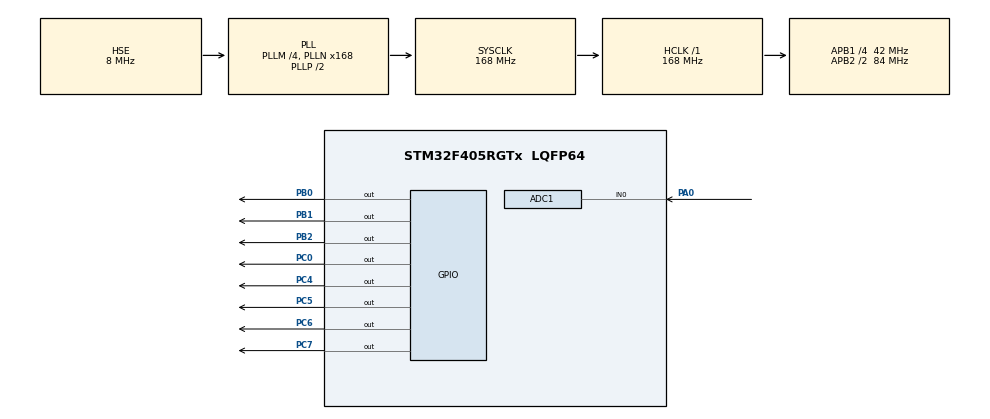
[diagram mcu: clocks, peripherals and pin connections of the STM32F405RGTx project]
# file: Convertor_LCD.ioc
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ADC1.Channel-0\#ChannelRegularConversion=ADC_CHANNEL_0
ADC1.NbrOfConversionFlag=1
ADC1.Rank-0\#ChannelRegularConversion=1
ADC1.SamplingTime-0\#ChannelRegularConversion=ADC_SAMPLETIME_3CYCLES
ADC1.master=1
Mcu.Family=STM32F4
Mcu.Name=STM32F405RGTx
Mcu.Package=LQFP64
NVIC.PriorityGroup=NVIC_PRIORITYGROUP_4
PA0-WKUP.Signal=ADCx_IN0
PA13.Mode=Serial_Wire
PA13.Signal=SYS_JTMS-SWDIO
PA14.Mode=Serial_Wire
PA14.Signal=SYS_JTCK-SWCLK
PB0.Signal=GPIO_Output
PB1.Signal=GPIO_Output
PB2.Signal=GPIO_Output
PC0.Signal=GPIO_Output
PC4.Signal=GPIO_Output
PC5.Signal=GPIO_Output
PC6.Signal=GPIO_Output
PC7.Signal=GPIO_Output
PH0-OSC_IN.Mode=HSE-External-Oscillator
PH0-OSC_IN.Signal=RCC_OSC_IN
PH1-OSC_OUT.Mode=HSE-External-Oscillator
PH1-OSC_OUT.Signal=RCC_OSC_OUT
ProjectManager.HeapSize=0x200
ProjectManager.StackSize=0x400
ProjectManager.TargetToolchain=EWARM V8.32
RCC.48MHZClocksFreq_Value=84000000
RCC.AHBFreq_Value=168000000
RCC.APB1CLKDivider=RCC_HCLK_DIV4
RCC.APB1Freq_Value=42000000
RCC.APB1TimFreq_Value=84000000
RCC.APB2CLKDivider=RCC_HCLK_DIV2
RCC.APB2Freq_Value=84000000
RCC.APB2TimFreq_Value=168000000
RCC.CortexFreq_Value=168000000
RCC.HCLKFreq_Value=168000000
RCC.HSE_VALUE=8000000
RCC.HSI_VALUE=16000000
RCC.LSE_VALUE=32768
RCC.PLLM=4
RCC.PLLN=168
RCC.PLLSourceVirtual=RCC_PLLSOURCE_HSE
RCC.SYSCLKFreq_VALUE=168000000
RCC.SYSCLKSource=RCC_SYSCLKSOURCE_PLLCLK
RCC.VCOOutputFreq_Value=336000000
SH.ADCx_IN0.0=ADC1_IN0,IN0
board=custom

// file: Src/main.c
/* USER CODE BEGIN Header */
/**
  ******************************************************************************
  * @file           : main.c
  * @brief          : Main program body
  ******************************************************************************
  * @attention
  *
  * <h2><center>&copy; Copyright (c) 2020 STMicroelectronics.
  * All rights reserved.</center></h2>
  *
  * This software component is licensed by ST under BSD 3-Clause license,
  * the "License"; You may not use this file except in compliance with the
  * License. You may obtain a copy of the License at:
  *                        opensource.org/licenses/BSD-3-Clause
  *
  ******************************************************************************
  */
/* USER CODE END Header */

#include "main.h"
#include "adc.h"
#include "gpio.h"

/* USER CODE BEGIN Includes */
#include "lcd.h"
#include "stdio.h"
/* USER CODE END Includes */

/* USER CODE BEGIN PV */
uint16_t adcData = 0;
char str[10];
/* USER CODE END PV */

void SystemClock_Config(void);

int main(void)
{

  /* MCU Configuration--------------------------------------------------------*/

  /* Reset of all peripherals, Initializes the Flash interface and the Systick. */
  HAL_Init();

  /* Configure the system clock */
  SystemClock_Config();

  /* Initialize all configured peripherals */
  MX_GPIO_Init();
  MX_ADC1_Init();
  /* USER CODE BEGIN 2 */
  lcdInit();
  lcdGotoXY(0,0);
  /* USER CODE END 2 */

  /* Infinite loop */
  /* USER CODE BEGIN WHILE */
  while (1)
  {
    lcdClear();
    lcdPrintData("ADC POLLTEST",12);
    HAL_ADC_Start(&hadc1);
    HAL_ADC_PollForConversion(&hadc1,10);
    adcData = HAL_ADC_GetValue(&hadc1);
    sprintf(str, "ADC : %d", adcData);
    lcdGotoXY(0,1);
    lcdPrint(str);
    HAL_Delay(500);

    if(adcData < 2500)
      HAL_GPIO_WritePin(GPIOC,GPIO_PIN_0,GPIO_PIN_SET);
    else
      HAL_GPIO_WritePin(GPIOC,GPIO_PIN_0,GPIO_PIN_RESET);
    /* USER CODE END WHILE */

  }
}

void SystemClock_Config(void)
{
  RCC_OscInitTypeDef RCC_OscInitStruct = {0};
  RCC_ClkInitTypeDef RCC_ClkInitStruct = {0};

  /** Configure the main internal regulator output voltage
  */
  __HAL_RCC_PWR_CLK_ENABLE();
  __HAL_PWR_VOLTAGESCALING_CONFIG(PWR_REGULATOR_VOLTAGE_SCALE1);
  /** Initializes the CPU, AHB and APB busses clocks
  */
  RCC_OscInitStruct.OscillatorType = RCC_OSCILLATORTYPE_HSE;
  RCC_OscInitStruct.HSEState = RCC_HSE_ON;
  RCC_OscInitStruct.PLL.PLLState = RCC_PLL_ON;
  RCC_OscInitStruct.PLL.PLLSource = RCC_PLLSOURCE_HSE;
  RCC_OscInitStruct.PLL.PLLM = 4;
  RCC_OscInitStruct.PLL.PLLN = 168;
  RCC_OscInitStruct.PLL.PLLP = RCC_PLLP_DIV2;
  RCC_OscInitStruct.PLL.PLLQ = 4;
  if (HAL_RCC_OscConfig(&RCC_OscInitStruct) != HAL_OK)
  {
    Error_Handler();
  }
  /** Initializes the CPU, AHB and APB busses clocks
  */
  RCC_ClkInitStruct.ClockType = RCC_CLOCKTYPE_HCLK|RCC_CLOCKTYPE_SYSCLK
                              |RCC_CLOCKTYPE_PCLK1|RCC_CLOCKTYPE_PCLK2;
  RCC_ClkInitStruct.SYSCLKSource = RCC_SYSCLKSOURCE_PLLCLK;
  RCC_ClkInitStruct.AHBCLKDivider = RCC_SYSCLK_DIV1;
  RCC_ClkInitStruct.APB1CLKDivider = RCC_HCLK_DIV4;
  RCC_ClkInitStruct.APB2CLKDivider = RCC_HCLK_DIV2;

  if (HAL_RCC_ClockConfig(&RCC_ClkInitStruct, FLASH_LATENCY_5) != HAL_OK)
  {
    Error_Handler();
  }
}

void Error_Handler(void)
{
}

/************************ (C) COPYRIGHT STMicroelectronics *****END OF FILE****/
